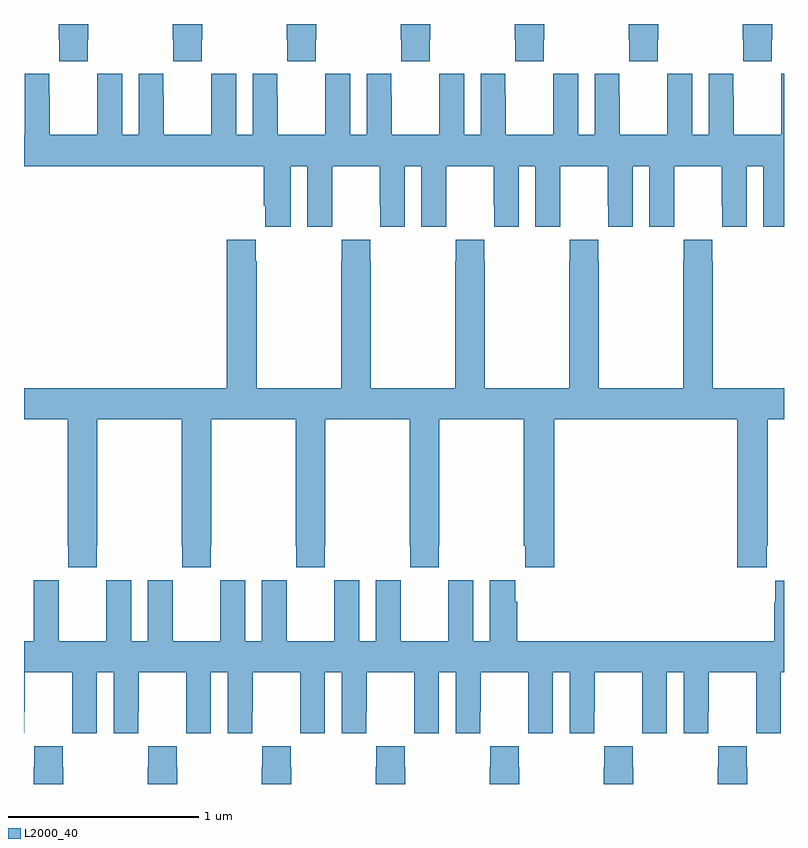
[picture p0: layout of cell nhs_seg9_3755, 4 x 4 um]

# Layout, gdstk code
import gdstk
lib = gdstk.Library(unit=1e-6, precision=1e-09)
def P(c, l, *ps):  # polygons
    for p in ps: c.add(gdstk.Polygon(p, *l))
L2000_40 = (2000, 40)

nhs_seg9_3755 = lib.new_cell('nhs_seg9_3755')
P(nhs_seg9_3755, L2000_40, [(325.783,1198.417),(325.785,1198.417),(325.785,1198.305),(325.935,1198.305),(325.935,1198.417),(325.938,1198.417),(325.938,1198.5),(325.783,1198.5)],
  [(326.535,1198.417),(326.538,1198.417),(326.538,1198.5),(326.383,1198.5),(326.383,1198.417),(326.385,1198.417),(326.385,1198.305),(326.535,1198.305)],
  [(327.135,1198.417),(327.138,1198.417),(327.138,1198.5),(326.983,1198.5),(326.983,1198.417),(326.985,1198.417),(326.985,1198.305),(327.135,1198.305)],
  [(327.735,1198.417),(327.738,1198.417),(327.738,1198.5),(327.583,1198.5),(327.583,1198.417),(327.585,1198.417),(327.585,1198.305),(327.735,1198.305)],
  [(328.335,1198.417),(328.338,1198.417),(328.338,1198.5),(328.183,1198.5),(328.183,1198.417),(328.185,1198.417),(328.185,1198.305),(328.335,1198.305)],
  [(328.935,1198.417),(328.938,1198.417),(328.938,1198.5),(328.783,1198.5),(328.783,1198.417),(328.785,1198.417),(328.785,1198.305),(328.935,1198.305)],
  [(325.335,1198.417),(325.338,1198.417),(325.338,1198.5),(325.183,1198.5),(325.183,1198.417),(325.185,1198.417),(325.185,1198.305),(325.335,1198.305)],
  [(327.535,1198.124),(327.534,1198.124),(327.534,1198.237),(327.404,1198.237),(327.404,1197.916),(327.316,1197.916),(327.316,1198.237),(327.186,1198.237),(327.186,1198.124),(327.185,1198.124),(327.185,1197.916),(326.935,1197.916),(326.935,1198.124),(326.934,1198.124),(326.934,1198.237),(326.804,1198.237),(326.804,1197.916),(326.716,1197.916),(326.716,1198.237),(326.586,1198.237),(326.586,1198.124),(326.585,1198.124),(326.585,1197.916),(326.335,1197.916),(326.335,1198.124),(326.334,1198.124),(326.334,1198.237),(326.204,1198.237),(326.204,1197.916),(326.116,1197.916),(326.116,1198.237),(325.986,1198.237),(325.986,1198.124),(325.985,1198.124),(325.985,1197.916),(325.735,1197.916),(325.735,1198.124),(325.734,1198.124),(325.734,1198.237),(325.604,1198.237),(325.604,1197.916),(325.516,1197.916),(325.516,1198.237),(325.386,1198.237),(325.386,1198.124),(325.385,1198.124),(325.385,1197.916),(325.135,1197.916),(325.135,1198.124),(325.134,1198.124),(325.134,1198.237),(325.004,1198.237),(325.004,1197.916),(325,1197.916),(325,1197.752),(326.261,1197.752),(326.261,1197.544),(326.27,1197.544),(326.27,1197.432),(326.404,1197.432),(326.404,1197.752),(326.492,1197.752),(326.492,1197.432),(326.622,1197.432),(326.622,1197.544),(326.623,1197.544),(326.623,1197.752),(326.873,1197.752),(326.873,1197.544),(326.874,1197.544),(326.874,1197.432),(327.004,1197.432),(327.004,1197.752),(327.092,1197.752),(327.092,1197.432),(327.222,1197.432),(327.222,1197.544),(327.223,1197.544),(327.223,1197.752),(327.473,1197.752),(327.473,1197.544),(327.474,1197.544),(327.474,1197.432),(327.604,1197.432),(327.604,1197.752),(327.692,1197.752),(327.692,1197.432),(327.822,1197.432),(327.822,1197.544),(327.823,1197.544),(327.823,1197.752),(328.073,1197.752),(328.073,1197.544),(328.074,1197.544),(328.074,1197.432),(328.204,1197.432),(328.204,1197.752),(328.292,1197.752),(328.292,1197.432),(328.422,1197.432),(328.422,1197.544),(328.423,1197.544),(328.423,1197.752),(328.673,1197.752),(328.673,1197.544),(328.674,1197.544),(328.674,1197.432),(328.804,1197.432),(328.804,1197.752),(328.892,1197.752),(328.892,1197.432),(329,1197.432),(329,1198.237),(328.986,1198.237),(328.986,1198.124),(328.985,1198.124),(328.985,1197.916),(328.735,1197.916),(328.735,1198.124),(328.734,1198.124),(328.734,1198.237),(328.604,1198.237),(328.604,1197.916),(328.516,1197.916),(328.516,1198.237),(328.386,1198.237),(328.386,1198.124),(328.385,1198.124),(328.385,1197.916),(328.135,1197.916),(328.135,1198.124),(328.134,1198.124),(328.134,1198.237),(328.004,1198.237),(328.004,1197.916),(327.916,1197.916),(327.916,1198.237),(327.786,1198.237),(327.786,1198.124),(327.785,1198.124),(327.785,1197.916),(327.535,1197.916)],
  [(328.623,1197.251),(328.623,1197.364),(328.473,1197.364),(328.473,1197.251),(328.471,1197.251),(328.471,1196.584),(328.026,1196.584),(328.026,1197.251),(328.023,1197.251),(328.023,1197.364),(327.873,1197.364),(327.873,1197.251),(327.871,1197.251),(327.871,1196.584),(327.426,1196.584),(327.426,1197.251),(327.423,1197.251),(327.423,1197.364),(327.273,1197.364),(327.273,1197.251),(327.271,1197.251),(327.271,1196.584),(326.826,1196.584),(326.826,1197.251),(326.823,1197.251),(326.823,1197.364),(326.673,1197.364),(326.673,1197.251),(326.671,1197.251),(326.671,1196.584),(326.226,1196.584),(326.226,1197.251),(326.219,1197.251),(326.219,1197.364),(326.066,1197.364),(326.066,1196.584),(325,1196.584),(325,1196.42),(325.231,1196.42),(325.231,1195.753),(325.233,1195.753),(325.233,1195.641),(325.383,1195.641),(325.383,1195.753),(325.386,1195.753),(325.386,1196.42),(325.831,1196.42),(325.831,1195.753),(325.833,1195.753),(325.833,1195.641),(325.983,1195.641),(325.983,1195.753),(325.986,1195.753),(325.986,1196.42),(326.431,1196.42),(326.431,1195.753),(326.433,1195.753),(326.433,1195.641),(326.583,1195.641),(326.583,1195.753),(326.586,1195.753),(326.586,1196.42),(327.031,1196.42),(327.031,1195.753),(327.033,1195.753),(327.033,1195.641),(327.183,1195.641),(327.183,1195.753),(327.186,1195.753),(327.186,1196.42),(327.631,1196.42),(327.631,1195.753),(327.637,1195.753),(327.637,1195.641),(327.791,1195.641),(327.791,1196.42),(328.754,1196.42),(328.754,1195.641),(328.909,1195.641),(328.909,1195.753),(328.914,1195.753),(328.914,1196.42),(329,1196.42),(329,1196.584),(328.626,1196.584),(328.626,1197.251)],
  [(326.072,1194.768),(326.202,1194.768),(326.202,1194.88),(326.203,1194.88),(326.203,1195.088),(326.453,1195.088),(326.453,1194.88),(326.454,1194.88),(326.454,1194.768),(326.584,1194.768),(326.584,1195.088),(326.672,1195.088),(326.672,1194.768),(326.802,1194.768),(326.802,1194.88),(326.803,1194.88),(326.803,1195.088),(327.053,1195.088),(327.053,1194.88),(327.054,1194.88),(327.054,1194.768),(327.184,1194.768),(327.184,1195.088),(327.272,1195.088),(327.272,1194.768),(327.402,1194.768),(327.402,1194.88),(327.403,1194.88),(327.403,1195.088),(327.653,1195.088),(327.653,1194.88),(327.654,1194.88),(327.654,1194.768),(327.784,1194.768),(327.784,1195.088),(327.872,1195.088),(327.872,1194.768),(328.002,1194.768),(328.002,1194.88),(328.003,1194.88),(328.003,1195.088),(328.253,1195.088),(328.253,1194.88),(328.254,1194.88),(328.254,1194.768),(328.384,1194.768),(328.384,1195.088),(328.472,1195.088),(328.472,1194.768),(328.602,1194.768),(328.602,1194.88),(328.603,1194.88),(328.603,1195.088),(328.853,1195.088),(328.853,1194.88),(328.854,1194.88),(328.854,1194.768),(328.984,1194.768),(328.984,1195.088),(329,1195.088),(329,1195.57),(328.955,1195.57),(328.955,1195.457),(328.949,1195.457),(328.949,1195.252),(327.596,1195.252),(327.596,1195.46),(327.586,1195.46),(327.586,1195.573),(327.452,1195.573),(327.452,1195.252),(327.364,1195.252),(327.364,1195.573),(327.234,1195.573),(327.234,1195.46),(327.233,1195.46),(327.233,1195.252),(326.983,1195.252),(326.983,1195.46),(326.982,1195.46),(326.982,1195.573),(326.852,1195.573),(326.852,1195.252),(326.764,1195.252),(326.764,1195.573),(326.634,1195.573),(326.634,1195.46),(326.633,1195.46),(326.633,1195.252),(326.383,1195.252),(326.383,1195.46),(326.382,1195.46),(326.382,1195.573),(326.252,1195.573),(326.252,1195.252),(326.164,1195.252),(326.164,1195.573),(326.034,1195.573),(326.034,1195.46),(326.033,1195.46),(326.033,1195.252),(325.783,1195.252),(325.783,1195.46),(325.782,1195.46),(325.782,1195.573),(325.652,1195.573),(325.652,1195.252),(325.564,1195.252),(325.564,1195.573),(325.434,1195.573),(325.434,1195.46),(325.433,1195.46),(325.433,1195.252),(325.183,1195.252),(325.183,1195.46),(325.182,1195.46),(325.182,1195.573),(325.052,1195.573),(325.052,1195.252),(325,1195.252),(325,1194.768),(325.002,1194.768),(325.002,1194.88),(325.003,1194.88),(325.003,1195.088),(325.253,1195.088),(325.253,1194.88),(325.254,1194.88),(325.254,1194.768),(325.384,1194.768),(325.384,1195.088),(325.472,1195.088),(325.472,1194.768),(325.602,1194.768),(325.602,1194.88),(325.603,1194.88),(325.603,1195.088),(325.853,1195.088),(325.853,1194.88),(325.854,1194.88),(325.854,1194.768),(325.984,1194.768),(325.984,1195.088),(326.072,1195.088)],
  [(326.406,1194.587),(326.403,1194.587),(326.403,1194.7),(326.253,1194.7),(326.253,1194.587),(326.251,1194.587),(326.251,1194.5),(326.406,1194.5)],
  [(325.206,1194.587),(325.203,1194.587),(325.203,1194.7),(325.053,1194.7),(325.053,1194.587),(325.051,1194.587),(325.051,1194.5),(325.206,1194.5)],
  [(325.806,1194.587),(325.803,1194.587),(325.803,1194.7),(325.653,1194.7),(325.653,1194.587),(325.651,1194.587),(325.651,1194.5),(325.806,1194.5)],
  [(327.006,1194.587),(327.003,1194.587),(327.003,1194.7),(326.853,1194.7),(326.853,1194.587),(326.851,1194.587),(326.851,1194.5),(327.006,1194.5)],
  [(327.606,1194.587),(327.603,1194.587),(327.603,1194.7),(327.453,1194.7),(327.453,1194.587),(327.451,1194.587),(327.451,1194.5),(327.606,1194.5)],
  [(328.206,1194.587),(328.203,1194.587),(328.203,1194.7),(328.053,1194.7),(328.053,1194.587),(328.051,1194.587),(328.051,1194.5),(328.206,1194.5)],
  [(328.806,1194.587),(328.803,1194.587),(328.803,1194.7),(328.653,1194.7),(328.653,1194.587),(328.651,1194.587),(328.651,1194.5),(328.806,1194.5)])

lib.write_gds('nhs_seg9_3755.gds')
